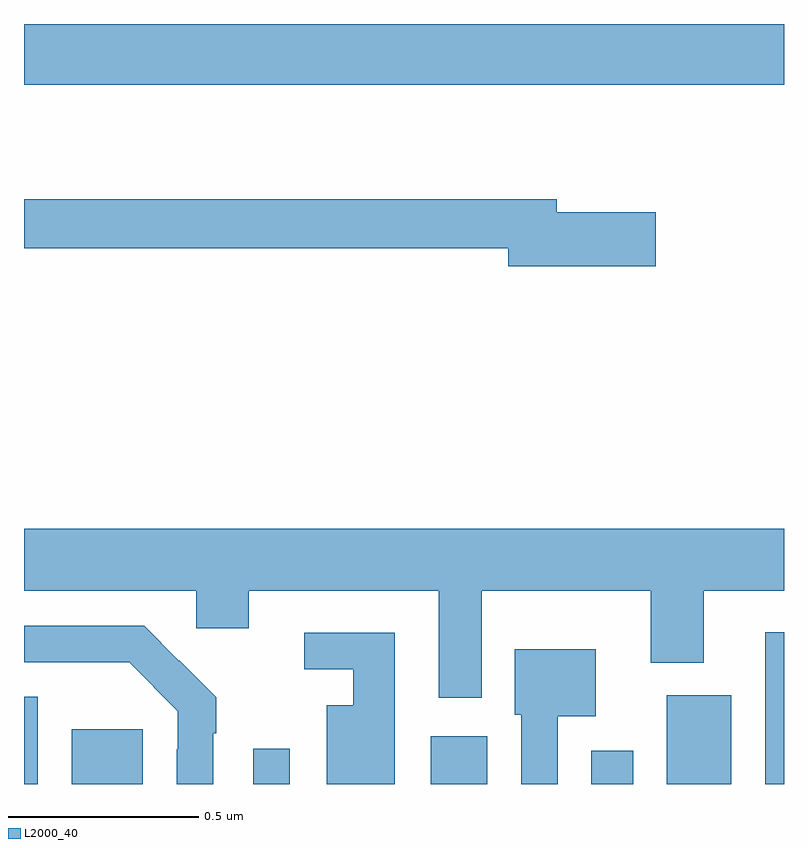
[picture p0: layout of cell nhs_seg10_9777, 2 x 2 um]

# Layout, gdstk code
import gdstk
lib = gdstk.Library(unit=1e-6, precision=1e-09)
def R(c, l, rs):  # rectangles x0, y0, x1, y1
    for r in rs: c.add(gdstk.rectangle(r[:2], r[2:], *l))
def P(c, l, *ps):  # polygons
    for p in ps: c.add(gdstk.Polygon(p, *l))
L2000_40 = (2000, 40)

nhs_seg10_9777 = lib.new_cell('nhs_seg10_9777')
R(nhs_seg10_9777, L2000_40, [(234,1274.5,234.036,1274.73), (234.125,1274.5,234.313,1274.644), (234.603,1274.5,234.699,1274.593), (235.07,1274.5,235.219,1274.626), (235.493,1274.5,235.603,1274.587), (235.691,1274.5,235.861,1274.734), (235.95,1274.5,236,1274.899), (234,1276.34,236,1276.5)])
P(nhs_seg10_9777, L2000_40, [(235.663,1276.005),(235.402,1276.005),(235.402,1276.039),(234,1276.039),(234,1275.91),(235.274,1275.91),(235.274,1275.863),(235.663,1275.863)],
  [(235.204,1275.008),(235.649,1275.008),(235.649,1274.819),(235.789,1274.819),(235.789,1275.008),(236,1275.008),(236,1275.172),(234,1275.172),(234,1275.008),(234.453,1275.008),(234.453,1274.91),(234.592,1274.91),(234.592,1275.008),(235.091,1275.008),(235.091,1274.727),(235.204,1274.727)],
  [(234.498,1274.633),(234.506,1274.633),(234.506,1274.728),(234.408,1274.826),(234.407,1274.825),(234.316,1274.916),(234,1274.916),(234,1274.82),(234.277,1274.82),(234.405,1274.691),(234.405,1274.591),(234.402,1274.591),(234.402,1274.5),(234.498,1274.5)],
  [(234.976,1274.613),(234.975,1274.613),(234.975,1274.898),(234.738,1274.898),(234.738,1274.802),(234.867,1274.802),(234.867,1274.707),(234.797,1274.707),(234.797,1274.5),(234.976,1274.5)],
  [(235.404,1274.678),(235.504,1274.678),(235.504,1274.854),(235.292,1274.854),(235.292,1274.682),(235.308,1274.682),(235.308,1274.5),(235.404,1274.5)])

lib.write_gds('nhs_seg10_9777.gds')
